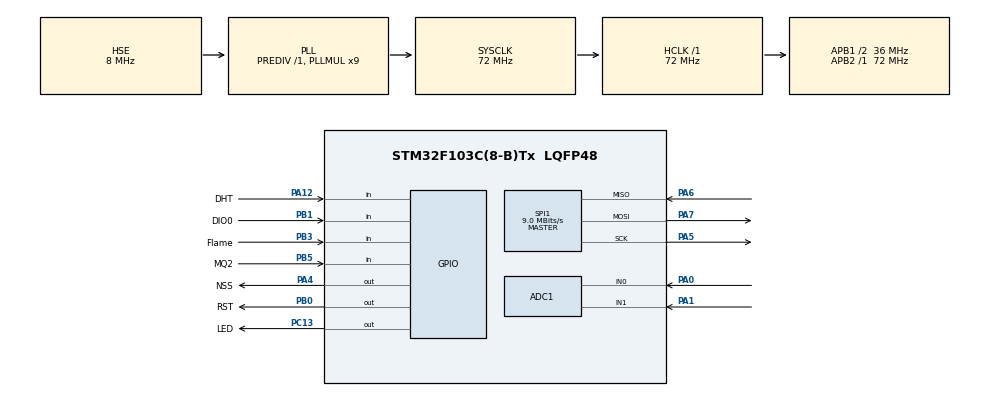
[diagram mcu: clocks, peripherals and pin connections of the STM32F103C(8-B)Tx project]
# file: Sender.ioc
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ADC1.Channel-1\#ChannelRegularConversion=ADC_CHANNEL_0
ADC1.Channel-2\#ChannelRegularConversion=ADC_CHANNEL_1
ADC1.ContinuousConvMode=ENABLE
ADC1.NbrOfConversion=2
ADC1.NbrOfConversionFlag=1
ADC1.Rank-1\#ChannelRegularConversion=1
ADC1.Rank-2\#ChannelRegularConversion=2
ADC1.SamplingTime-1\#ChannelRegularConversion=ADC_SAMPLETIME_1CYCLE_5
ADC1.SamplingTime-2\#ChannelRegularConversion=ADC_SAMPLETIME_1CYCLE_5
ADC1.master=1
Mcu.Family=STM32F1
Mcu.Name=STM32F103C(8-B)Tx
Mcu.Package=LQFP48
NVIC.PriorityGroup=NVIC_PRIORITYGROUP_4
PA0-WKUP.Signal=ADCx_IN0
PA1.Signal=ADCx_IN1
PA12.GPIO_Label=DHT
PA12.GPIO_PuPd=GPIO_PULLUP
PA12.Signal=GPIO_Input
PA13.Mode=Serial_Wire
PA13.Signal=SYS_JTMS-SWDIO
PA14.Mode=Serial_Wire
PA14.Signal=SYS_JTCK-SWCLK
PA4.GPIO_Label=NSS
PA4.PinState=GPIO_PIN_SET
PA4.Signal=GPIO_Output
PA5.Mode=Full_Duplex_Master
PA5.Signal=SPI1_SCK
PA6.Mode=Full_Duplex_Master
PA6.Signal=SPI1_MISO
PA7.Mode=Full_Duplex_Master
PA7.Signal=SPI1_MOSI
PB0.GPIO_Label=RST
PB0.PinState=GPIO_PIN_SET
PB0.Signal=GPIO_Output
PB1.GPIO_Label=DIO0
PB1.Signal=GPIO_Input
PB3.GPIO_Label=Flame
PB3.Signal=GPIO_Input
PB5.GPIO_Label=MQ2
PB5.Signal=GPIO_Input
PC13-TAMPER-RTC.GPIO_Label=LED
PC13-TAMPER-RTC.Signal=GPIO_Output
PD0-OSC_IN.Mode=HSE-External-Oscillator
PD0-OSC_IN.Signal=RCC_OSC_IN
PD1-OSC_OUT.Mode=HSE-External-Oscillator
PD1-OSC_OUT.Signal=RCC_OSC_OUT
ProjectManager.HeapSize=0x200
ProjectManager.StackSize=0x400
ProjectManager.TargetToolchain=STM32CubeIDE
RCC.ADCPresc=RCC_ADCPCLK2_DIV6
RCC.AHBFreq_Value=72000000
RCC.APB1CLKDivider=RCC_HCLK_DIV2
RCC.APB1Freq_Value=36000000
RCC.APB1TimFreq_Value=72000000
RCC.APB2Freq_Value=72000000
RCC.APB2TimFreq_Value=72000000
RCC.HCLKFreq_Value=72000000
RCC.PLLMUL=RCC_PLL_MUL9
RCC.PLLSourceVirtual=RCC_PLLSOURCE_HSE
RCC.SYSCLKFreq_VALUE=72000000
RCC.SYSCLKSource=RCC_SYSCLKSOURCE_PLLCLK
RCC.USBFreq_Value=72000000
SH.ADCx_IN0.0=ADC1_IN0,IN0
SH.ADCx_IN1.0=ADC1_IN1,IN1
SPI1.BaudRatePrescaler=SPI_BAUDRATEPRESCALER_8
SPI1.CalculateBaudRate=9.0 MBits/s
SPI1.Direction=SPI_DIRECTION_2LINES
SPI1.Mode=SPI_MODE_MASTER
SPI1.VirtualType=VM_MASTER
TIM1.Period=65535-1
TIM1.Prescaler=72-1
TIM4.Period=0xFFFF-1
TIM4.Prescaler=72-1
VP_TIM1_VS_ClockSourceINT.Mode=Internal
VP_TIM4_VS_ClockSourceINT.Mode=Internal
board=custom

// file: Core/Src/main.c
/* USER CODE BEGIN Header */
/**
  ******************************************************************************
  * @file           : main.c
  * @brief          : Main program body
  ******************************************************************************
  * @attention
  *
  * Copyright (c) 2023 STMicroelectronics.
  * All rights reserved.
  *
  * This software is licensed under terms that can be found in the LICENSE file
  * in the root directory of this software component.
  * If no LICENSE file comes with this software, it is provided AS-IS.
  *
  ******************************************************************************
  */
/* USER CODE END Header */
#include "main.h"

/* USER CODE BEGIN Includes */
#include "SX1278_hw.h"
#include "SX1278.h"
#include "DHT.h"
/* USER CODE END Includes */

ADC_HandleTypeDef hadc1;

SPI_HandleTypeDef hspi1;

TIM_HandleTypeDef htim1;
TIM_HandleTypeDef htim4;

void SystemClock_Config(void);
static void MX_GPIO_Init(void);
static void MX_TIM1_Init(void);
static void MX_SPI1_Init(void);
static void MX_ADC1_Init(void);
static void MX_TIM4_Init(void);

/* USER CODE BEGIN 0 */
void ADC_Select_CH0 (void)
{
	ADC_ChannelConfTypeDef sConfig = {0};
	  /** Configure for the selected ADC regular channel its corresponding rank in the sequencer and its sample time.
	  */
	  sConfig.Channel = ADC_CHANNEL_0;
	  sConfig.Rank = 1;
	  sConfig.SamplingTime = ADC_SAMPLETIME_28CYCLES_5;
	  if (HAL_ADC_ConfigChannel(&hadc1, &sConfig) != HAL_OK)
	  {
	    Error_Handler();
	  }
}

void ADC_Select_CH1 (void)
{
	ADC_ChannelConfTypeDef sConfig = {0};
	  /** Configure for the selected ADC regular channel its corresponding rank in the sequencer and its sample time.
	  */
	  sConfig.Channel = ADC_CHANNEL_1;
	  sConfig.Rank = 1;
	  sConfig.SamplingTime = ADC_SAMPLETIME_28CYCLES_5;
	  if (HAL_ADC_ConfigChannel(&hadc1, &sConfig) != HAL_OK)
	  {
	    Error_Handler();
	  }
}

DHT_Name dht11;

SX1278_hw_t SX1278_hw;
SX1278_t SX1278;

int master = 1;
int ret;
char buffer[16]="1234561234567890";
uint16_t Flame,MQ2;
/* USER CODE END 0 */

int main(void)
{

  /* MCU Configuration--------------------------------------------------------*/

  /* Reset of all peripherals, Initializes the Flash interface and the Systick. */
  HAL_Init();

  /* Configure the system clock */
  SystemClock_Config();

  /* Initialize all configured peripherals */
  MX_GPIO_Init();
  MX_TIM1_Init();
  MX_SPI1_Init();
  MX_ADC1_Init();
  MX_TIM4_Init();
  /* USER CODE BEGIN 2 */
  HAL_TIM_Base_Start(&htim1);

  DHT_Init(&dht11, DHT11, &htim4, DHT_GPIO_Port, DHT_Pin);

  //initialize LoRa module
   SX1278_hw.dio0.port = DIO0_GPIO_Port;
   SX1278_hw.dio0.pin = DIO0_Pin;
   SX1278_hw.nss.port = NSS_GPIO_Port;
   SX1278_hw.nss.pin = NSS_Pin;
   SX1278_hw.reset.port = RST_GPIO_Port;
   SX1278_hw.reset.pin = RST_Pin;
   SX1278_hw.spi = &hspi1;

   SX1278.hw = &SX1278_hw;

   SX1278_init(&SX1278, 434000000, SX1278_POWER_17DBM, SX1278_LORA_SF_7,
   SX1278_LORA_BW_125KHZ, SX1278_LORA_CR_4_5, SX1278_LORA_CRC_EN, 10);

 	if (master == 1) {
 		ret = SX1278_LoRaEntryTx(&SX1278, 16, 2000);
 		HAL_GPIO_WritePin(LED_GPIO_Port, LED_Pin, GPIO_PIN_RESET);
 	} else {
 		ret = SX1278_LoRaEntryRx(&SX1278, 16, 2000);
 		HAL_GPIO_WritePin(LED_GPIO_Port, LED_Pin, GPIO_PIN_SET);
 	}
  /* USER CODE END 2 */

  /* Infinite loop */
  /* USER CODE BEGIN WHILE */

  while (1)
  {
	  DHT_ReadTempHum(&dht11);
	  HAL_Delay(1000);
	  buffer[6]= (uint8_t)dht11.Temp1 ;
	  buffer[7]= (uint8_t)dht11.Humi1 ;

	  ADC_Select_CH0();
	  HAL_ADC_Start(&hadc1);
	  HAL_ADC_PollForConversion(&hadc1, 1000);
	  Flame = HAL_ADC_GetValue(&hadc1);
	  HAL_ADC_Stop(&hadc1);

	  ADC_Select_CH1();
	  HAL_ADC_Start(&hadc1);
	  HAL_ADC_PollForConversion(&hadc1, 1000);
	  MQ2 = HAL_ADC_GetValue(&hadc1);
	  HAL_ADC_Stop(&hadc1);

	  HAL_Delay(1000);
	  buffer[0]= (uint8_t)Flame ;
	  buffer[1]= (uint8_t)(Flame>>8) ;
	  buffer[2]= HAL_GPIO_ReadPin(GPIOB, Flame_Pin);
	  buffer[3]= (uint8_t)MQ2 ;
	  buffer[4]= (uint8_t)(MQ2>>8) ;
	  buffer[5]= HAL_GPIO_ReadPin(GPIOB, MQ2_Pin);

	  if (master == 1) {

		ret = SX1278_LoRaEntryTx(&SX1278, 16, 2000);

		ret = SX1278_LoRaTxPacket(&SX1278, (uint8_t*) buffer,16, 2000);
		if(ret)
		{
			HAL_GPIO_WritePin(LED_GPIO_Port, LED_Pin, GPIO_PIN_RESET);
			HAL_Delay(500);
			HAL_GPIO_WritePin(LED_GPIO_Port, LED_Pin, GPIO_PIN_SET);
			HAL_Delay(500);
		}

	  } else {

		HAL_Delay(1000);

		ret = SX1278_LoRaRxPacket(&SX1278);

		if (ret > 0) {
			if(SX1278_read(&SX1278, (uint8_t*) buffer, ret)>0){
				HAL_GPIO_WritePin(LED_GPIO_Port, LED_Pin, GPIO_PIN_RESET);
				HAL_Delay(500);
				HAL_GPIO_WritePin(LED_GPIO_Port, LED_Pin, GPIO_PIN_SET);
				HAL_Delay(500);
			}

		}

	}
  }
    /* USER CODE END WHILE */

}

void SystemClock_Config(void)
{
  RCC_OscInitTypeDef RCC_OscInitStruct = {0};
  RCC_ClkInitTypeDef RCC_ClkInitStruct = {0};
  RCC_PeriphCLKInitTypeDef PeriphClkInit = {0};

  /** Initializes the RCC Oscillators according to the specified parameters
  * in the RCC_OscInitTypeDef structure.
  */
  RCC_OscInitStruct.OscillatorType = RCC_OSCILLATORTYPE_HSE;
  RCC_OscInitStruct.HSEState = RCC_HSE_ON;
  RCC_OscInitStruct.HSEPredivValue = RCC_HSE_PREDIV_DIV1;
  RCC_OscInitStruct.HSIState = RCC_HSI_ON;
  RCC_OscInitStruct.PLL.PLLState = RCC_PLL_ON;
  RCC_OscInitStruct.PLL.PLLSource = RCC_PLLSOURCE_HSE;
  RCC_OscInitStruct.PLL.PLLMUL = RCC_PLL_MUL9;
  if (HAL_RCC_OscConfig(&RCC_OscInitStruct) != HAL_OK)
  {
    Error_Handler();
  }

  /** Initializes the CPU, AHB and APB buses clocks
  */
  RCC_ClkInitStruct.ClockType = RCC_CLOCKTYPE_HCLK|RCC_CLOCKTYPE_SYSCLK
                              |RCC_CLOCKTYPE_PCLK1|RCC_CLOCKTYPE_PCLK2;
  RCC_ClkInitStruct.SYSCLKSource = RCC_SYSCLKSOURCE_PLLCLK;
  RCC_ClkInitStruct.AHBCLKDivider = RCC_SYSCLK_DIV1;
  RCC_ClkInitStruct.APB1CLKDivider = RCC_HCLK_DIV2;
  RCC_ClkInitStruct.APB2CLKDivider = RCC_HCLK_DIV1;

  if (HAL_RCC_ClockConfig(&RCC_ClkInitStruct, FLASH_LATENCY_2) != HAL_OK)
  {
    Error_Handler();
  }
  PeriphClkInit.PeriphClockSelection = RCC_PERIPHCLK_ADC;
  PeriphClkInit.AdcClockSelection = RCC_ADCPCLK2_DIV6;
  if (HAL_RCCEx_PeriphCLKConfig(&PeriphClkInit) != HAL_OK)
  {
    Error_Handler();
  }
}

static void MX_ADC1_Init(void)
{

  ADC_ChannelConfTypeDef sConfig = {0};

  /** Common config
  */
  hadc1.Instance = ADC1;
  hadc1.Init.ScanConvMode = ADC_SCAN_ENABLE;
  hadc1.Init.ContinuousConvMode = ENABLE;
  hadc1.Init.DiscontinuousConvMode = DISABLE;
  hadc1.Init.ExternalTrigConv = ADC_SOFTWARE_START;
  hadc1.Init.DataAlign = ADC_DATAALIGN_RIGHT;
  hadc1.Init.NbrOfConversion = 2;
  if (HAL_ADC_Init(&hadc1) != HAL_OK)
  {
    Error_Handler();
  }

  /** Configure Regular Channel
  */
  sConfig.Channel = ADC_CHANNEL_0;
  sConfig.Rank = ADC_REGULAR_RANK_1;
  sConfig.SamplingTime = ADC_SAMPLETIME_1CYCLE_5;
  if (HAL_ADC_ConfigChannel(&hadc1, &sConfig) != HAL_OK)
  {
    Error_Handler();
  }

  /** Configure Regular Channel
  */
  sConfig.Channel = ADC_CHANNEL_1;
  sConfig.Rank = ADC_REGULAR_RANK_2;
  if (HAL_ADC_ConfigChannel(&hadc1, &sConfig) != HAL_OK)
  {
    Error_Handler();
  }

}

static void MX_SPI1_Init(void)
{

  /* SPI1 parameter configuration*/
  hspi1.Instance = SPI1;
  hspi1.Init.Mode = SPI_MODE_MASTER;
  hspi1.Init.Direction = SPI_DIRECTION_2LINES;
  hspi1.Init.DataSize = SPI_DATASIZE_8BIT;
  hspi1.Init.CLKPolarity = SPI_POLARITY_LOW;
  hspi1.Init.CLKPhase = SPI_PHASE_1EDGE;
  hspi1.Init.NSS = SPI_NSS_SOFT;
  hspi1.Init.BaudRatePrescaler = SPI_BAUDRATEPRESCALER_8;
  hspi1.Init.FirstBit = SPI_FIRSTBIT_MSB;
  hspi1.Init.TIMode = SPI_TIMODE_DISABLE;
  hspi1.Init.CRCCalculation = SPI_CRCCALCULATION_DISABLE;
  hspi1.Init.CRCPolynomial = 10;
  if (HAL_SPI_Init(&hspi1) != HAL_OK)
  {
    Error_Handler();
  }

}

static void MX_TIM1_Init(void)
{

  TIM_ClockConfigTypeDef sClockSourceConfig = {0};
  TIM_MasterConfigTypeDef sMasterConfig = {0};

  htim1.Instance = TIM1;
  htim1.Init.Prescaler = 72-1;
  htim1.Init.CounterMode = TIM_COUNTERMODE_UP;
  htim1.Init.Period = 65535-1;
  htim1.Init.ClockDivision = TIM_CLOCKDIVISION_DIV1;
  htim1.Init.RepetitionCounter = 0;
  htim1.Init.AutoReloadPreload = TIM_AUTORELOAD_PRELOAD_DISABLE;
  if (HAL_TIM_Base_Init(&htim1) != HAL_OK)
  {
    Error_Handler();
  }
  sClockSourceConfig.ClockSource = TIM_CLOCKSOURCE_INTERNAL;
  if (HAL_TIM_ConfigClockSource(&htim1, &sClockSourceConfig) != HAL_OK)
  {
    Error_Handler();
  }
  sMasterConfig.MasterOutputTrigger = TIM_TRGO_RESET;
  sMasterConfig.MasterSlaveMode = TIM_MASTERSLAVEMODE_DISABLE;
  if (HAL_TIMEx_MasterConfigSynchronization(&htim1, &sMasterConfig) != HAL_OK)
  {
    Error_Handler();
  }

}

static void MX_TIM4_Init(void)
{

  TIM_ClockConfigTypeDef sClockSourceConfig = {0};
  TIM_MasterConfigTypeDef sMasterConfig = {0};

  htim4.Instance = TIM4;
  htim4.Init.Prescaler = 72-1;
  htim4.Init.CounterMode = TIM_COUNTERMODE_UP;
  htim4.Init.Period = 0xFFFF-1;
  htim4.Init.ClockDivision = TIM_CLOCKDIVISION_DIV1;
  htim4.Init.AutoReloadPreload = TIM_AUTORELOAD_PRELOAD_DISABLE;
  if (HAL_TIM_Base_Init(&htim4) != HAL_OK)
  {
    Error_Handler();
  }
  sClockSourceConfig.ClockSource = TIM_CLOCKSOURCE_INTERNAL;
  if (HAL_TIM_ConfigClockSource(&htim4, &sClockSourceConfig) != HAL_OK)
  {
    Error_Handler();
  }
  sMasterConfig.MasterOutputTrigger = TIM_TRGO_RESET;
  sMasterConfig.MasterSlaveMode = TIM_MASTERSLAVEMODE_DISABLE;
  if (HAL_TIMEx_MasterConfigSynchronization(&htim4, &sMasterConfig) != HAL_OK)
  {
    Error_Handler();
  }

}

static void MX_GPIO_Init(void)
{
  GPIO_InitTypeDef GPIO_InitStruct = {0};

  /* GPIO Ports Clock Enable */
  __HAL_RCC_GPIOC_CLK_ENABLE();
  __HAL_RCC_GPIOD_CLK_ENABLE();
  __HAL_RCC_GPIOA_CLK_ENABLE();
  __HAL_RCC_GPIOB_CLK_ENABLE();

  /*Configure GPIO pin Output Level */
  HAL_GPIO_WritePin(LED_GPIO_Port, LED_Pin, GPIO_PIN_RESET);

  /*Configure GPIO pin Output Level */
  HAL_GPIO_WritePin(NSS_GPIO_Port, NSS_Pin, GPIO_PIN_SET);

  /*Configure GPIO pin Output Level */
  HAL_GPIO_WritePin(RST_GPIO_Port, RST_Pin, GPIO_PIN_SET);

  /*Configure GPIO pin : LED_Pin */
  GPIO_InitStruct.Pin = LED_Pin;
  GPIO_InitStruct.Mode = GPIO_MODE_OUTPUT_PP;
  GPIO_InitStruct.Pull = GPIO_NOPULL;
  GPIO_InitStruct.Speed = GPIO_SPEED_FREQ_LOW;
  HAL_GPIO_Init(LED_GPIO_Port, &GPIO_InitStruct);

  /*Configure GPIO pin : NSS_Pin */
  GPIO_InitStruct.Pin = NSS_Pin;
  GPIO_InitStruct.Mode = GPIO_MODE_OUTPUT_PP;
  GPIO_InitStruct.Pull = GPIO_NOPULL;
  GPIO_InitStruct.Speed = GPIO_SPEED_FREQ_LOW;
  HAL_GPIO_Init(NSS_GPIO_Port, &GPIO_InitStruct);

  /*Configure GPIO pin : RST_Pin */
  GPIO_InitStruct.Pin = RST_Pin;
  GPIO_InitStruct.Mode = GPIO_MODE_OUTPUT_PP;
  GPIO_InitStruct.Pull = GPIO_NOPULL;
  GPIO_InitStruct.Speed = GPIO_SPEED_FREQ_LOW;
  HAL_GPIO_Init(RST_GPIO_Port, &GPIO_InitStruct);

  /*Configure GPIO pins : DIO0_Pin Flame_Pin MQ2_Pin */
  GPIO_InitStruct.Pin = DIO0_Pin|Flame_Pin|MQ2_Pin;
  GPIO_InitStruct.Mode = GPIO_MODE_INPUT;
  GPIO_InitStruct.Pull = GPIO_NOPULL;
  HAL_GPIO_Init(GPIOB, &GPIO_InitStruct);

  /*Configure GPIO pin : DHT_Pin */
  GPIO_InitStruct.Pin = DHT_Pin;
  GPIO_InitStruct.Mode = GPIO_MODE_INPUT;
  GPIO_InitStruct.Pull = GPIO_PULLUP;
  HAL_GPIO_Init(DHT_GPIO_Port, &GPIO_InitStruct);

}

void Error_Handler(void)
{
  __disable_irq();
  while (1)
  {
  }
}
